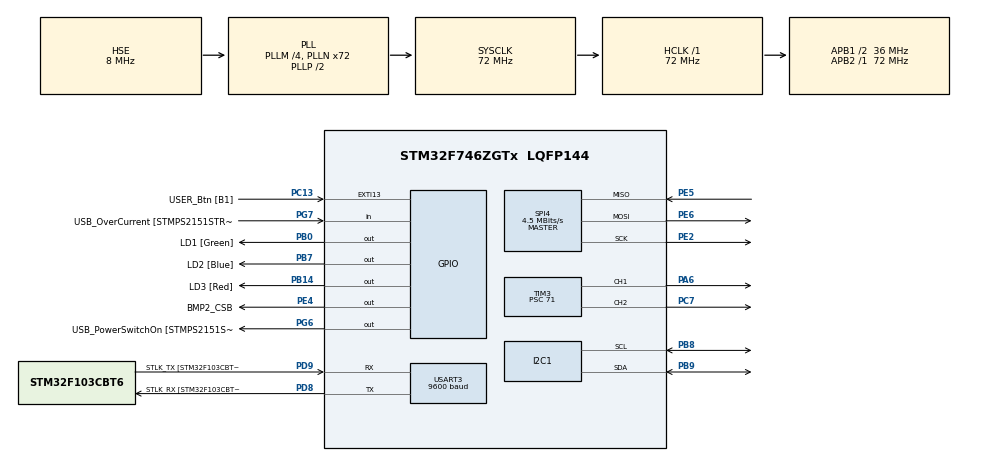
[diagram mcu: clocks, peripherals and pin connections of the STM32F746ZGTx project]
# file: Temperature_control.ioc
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I2C1.Timing=0x00808CD2
Mcu.Family=STM32F7
Mcu.Name=STM32F746ZGTx
Mcu.Package=LQFP144
NVIC.I2C1_ER_IRQn=true\:0\:0\:false\:false\:true\:true\:true\:true
NVIC.I2C1_EV_IRQn=true\:0\:0\:false\:false\:true\:true\:true\:true
NVIC.PriorityGroup=NVIC_PRIORITYGROUP_4
NVIC.SPI4_IRQn=true\:0\:0\:false\:false\:true\:true\:true\:true
NVIC.TIM7_IRQn=true\:0\:0\:false\:false\:true\:true\:true\:true
NVIC.USART3_IRQn=true\:0\:0\:false\:false\:true\:true\:true\:true
PA1.GPIO_Label=RMII_REF_CLK [LAN8742A-CZ-TR_REFCLK0]
PA1.Signal=ETH_REF_CLK
PA10.GPIO_Label=USB_ID
PA10.Signal=USB_OTG_FS_ID
PA11.GPIO_Label=USB_DM
PA11.Signal=USB_OTG_FS_DM
PA12.GPIO_Label=USB_DP
PA12.Signal=USB_OTG_FS_DP
PA13.GPIO_Label=TMS
PA13.Mode=Serial_Wire
PA13.Signal=SYS_JTMS-SWDIO
PA14.GPIO_Label=TCK
PA14.Mode=Serial_Wire
PA14.Signal=SYS_JTCK-SWCLK
PA2.GPIO_Label=RMII_MDIO [LAN8742A-CZ-TR_MDIO]
PA2.Signal=ETH_MDIO
PA6.Signal=S_TIM3_CH1
PA7.GPIO_Label=RMII_CRS_DV [LAN8742A-CZ-TR_CRS_DV]
PA7.Signal=ETH_CRS_DV
PA8.GPIO_Label=USB_SOF [TP1]
PA8.Signal=USB_OTG_FS_SOF
PA9.GPIO_Label=USB_VBUS
PA9.Signal=USB_OTG_FS_VBUS
PB0.GPIO_Label=LD1 [Green]
PB0.Signal=GPIO_Output
PB13.GPIO_Label=RMII_TXD1 [LAN8742A-CZ-TR_TXD1]
PB13.Signal=ETH_TXD1
PB14.GPIO_Label=LD3 [Red]
PB14.Signal=GPIO_Output
PB3.GPIO_Label=SW0
PB3.Signal=SYS_JTDO-SWO
PB7.GPIO_Label=LD2 [Blue]
PB7.Signal=GPIO_Output
PB8.Mode=I2C
PB8.Signal=I2C1_SCL
PB9.Mode=I2C
PB9.Signal=I2C1_SDA
PC1.GPIO_Label=RMII_MDC [LAN8742A-CZ-TR_MDC]
PC1.Signal=ETH_MDC
PC13.GPIO_Label=USER_Btn [B1]
PC13.Signal=GPXTI13
PC14/OSC32_IN.Mode=LSE-External-Oscillator
PC14/OSC32_IN.Signal=RCC_OSC32_IN
PC15/OSC32_OUT.Mode=LSE-External-Oscillator
PC15/OSC32_OUT.Signal=RCC_OSC32_OUT
PC4.GPIO_Label=RMII_RXD0 [LAN8742A-CZ-TR_RXD0]
PC4.Signal=ETH_RXD0
PC5.GPIO_Label=RMII_RXD1 [LAN8742A-CZ-TR_RXD1]
PC5.Signal=ETH_RXD1
PC7.Signal=S_TIM3_CH2
PD8.GPIO_Label=STLK_RX [STM32F103CBT6_PA3]
PD8.GPIO_PuPd=GPIO_PULLUP
PD8.Mode=Asynchronous
PD8.Signal=USART3_TX
PD9.GPIO_Label=STLK_TX [STM32F103CBT6_PA2]
PD9.GPIO_PuPd=GPIO_PULLUP
PD9.Mode=Asynchronous
PD9.Signal=USART3_RX
PE2.Mode=Full_Duplex_Master
PE2.Signal=SPI4_SCK
PE4.GPIO_Label=BMP2_CSB
PE4.Signal=GPIO_Output
PE5.Mode=Full_Duplex_Master
PE5.Signal=SPI4_MISO
PE6.Mode=Full_Duplex_Master
PE6.Signal=SPI4_MOSI
PG11.GPIO_Label=RMII_TX_EN [LAN8742A-CZ-TR_TXEN]
PG11.Signal=ETH_TX_EN
PG13.GPIO_Label=RMII_TXD0 [LAN8742A-CZ-TR_TXD0]
PG13.Signal=ETH_TXD0
PG6.GPIO_Label=USB_PowerSwitchOn [STMPS2151STR_EN]
PG6.Signal=GPIO_Output
PG7.GPIO_Label=USB_OverCurrent [STMPS2151STR_FAULT]
PG7.Signal=GPIO_Input
PH0/OSC_IN.GPIO_Label=MCO [STM32F103CBT6_PA8]
PH0/OSC_IN.Mode=HSE-External-Clock-Source
PH0/OSC_IN.Signal=RCC_OSC_IN
PH1/OSC_OUT.Mode=HSE-External-Clock-Source
PH1/OSC_OUT.Signal=RCC_OSC_OUT
ProjectManager.HeapSize=0x200
ProjectManager.StackSize=0x400
ProjectManager.TargetToolchain=STM32CubeIDE
RCC.48MHZClocksFreq_Value=24000000
RCC.AHBFreq_Value=72000000
RCC.APB1CLKDivider=RCC_HCLK_DIV2
RCC.APB1Freq_Value=36000000
RCC.APB1TimFreq_Value=72000000
RCC.APB2Freq_Value=72000000
RCC.APB2TimFreq_Value=72000000
RCC.CortexFreq_Value=72000000
RCC.HCLKFreq_Value=72000000
RCC.HSE_VALUE=8000000
RCC.HSI_VALUE=16000000
RCC.PLLM=4
RCC.PLLMUL=RCC_PLL_MUL9
RCC.PLLN=72
RCC.PLLQ=3
RCC.PLLSourceVirtual=RCC_PLLSOURCE_HSE
RCC.PRESCALERUSB=RCC_USBCLKSOURCE_PLL_DIV1_5
RCC.SYSCLKFreq_VALUE=72000000
RCC.SYSCLKSource=RCC_SYSCLKSOURCE_PLLCLK
RCC.SYSCLKSourceVirtual=RCC_SYSCLKSOURCE_PLLCLK
RCC.USBFreq_Value=48000000
RCC.VCOOutputFreq_Value=144000000
SH.S_TIM3_CH1.0=TIM3_CH1,PWM Generation1 CH1
SH.S_TIM3_CH2.0=TIM3_CH2,PWM Generation2 CH2
SPI4.BaudRatePrescaler=SPI_BAUDRATEPRESCALER_16
SPI4.CLKPhase=SPI_PHASE_2EDGE
SPI4.CLKPolarity=SPI_POLARITY_HIGH
SPI4.CalculateBaudRate=4.5 MBits/s
SPI4.DataSize=SPI_DATASIZE_8BIT
SPI4.Direction=SPI_DIRECTION_2LINES
SPI4.Mode=SPI_MODE_MASTER
SPI4.VirtualType=VM_MASTER
TIM3.Channel-PWM\ Generation1\ CH1=TIM_CHANNEL_1
TIM3.Channel-PWM\ Generation2\ CH2=TIM_CHANNEL_2
TIM3.OCPolarity_2=TIM_OCPOLARITY_HIGH
TIM3.Period=999
TIM3.Prescaler=71
TIM6.Period=0xFFFF
TIM6.Prescaler=72-1
TIM7.Period=5000-1
TIM7.Prescaler=7200-1
USART3.BaudRate=9600
USART3.VirtualMode-Asynchronous=VM_ASYNC
VP_TIM3_VS_ClockSourceINT.Mode=Internal
VP_TIM6_VS_ClockSourceINT.Mode=Enable_Timer
VP_TIM7_VS_ClockSourceINT.Mode=Enable_Timer
board=NUCLEO-F746ZG

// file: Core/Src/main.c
/* USER CODE BEGIN Header */
/**
  ******************************************************************************
  * @file           : main.c
  * @brief          : Main program body
  ******************************************************************************
  * @attention
  *
  * Copyright (c) 2024 STMicroelectronics.
  * All rights reserved.
  *
  * This software is licensed under terms that can be found in the LICENSE file
  * in the root directory of this software component.
  * If no LICENSE file comes with this software, it is provided AS-IS.
  *
  ******************************************************************************
  */
/* USER CODE END Header */
#include "main.h"
#include "i2c.h"
#include "spi.h"
#include "tim.h"
#include "usart.h"
#include "gpio.h"

/* USER CODE BEGIN Includes */
#include <stdio.h>
#include "bmp2_config.h"
#include "string.h"
#include "pi.h"
#include "lcd.h"
#include <stdbool.h>
#include <math.h>
/* USER CODE END Includes */

/* USER CODE BEGIN PV */
uint8_t  buffer[64];
uint8_t message[7];
_Bool transmiting = 0;
_Bool controler_on = 0;
int xd1 = 0;
float xd2;
struct lcd_disp disp;
//struct lcd_disp disp;
/* USER CODE END PV */

void SystemClock_Config(void);

/* USER CODE BEGIN 0 */
void HAL_UART_RxCpltCallback(UART_HandleTypeDef *huart)
{
    if (huart == &huart3) {
    	processMessage(message);
    	HAL_UART_Receive_IT(&huart3, message, 6);
    }
}

void HAL_TIM_PeriodElapsedCallback(TIM_HandleTypeDef *htim)
{

	if(htim->Instance == TIM7)
  {
	  float measured = BMP2_ReadTemperature_degC(&bmp2dev);
	  xd2 = measured;
	  unsigned int tempVal = measured;
	  float tempFrac = measured - tempVal;
	  int8_t tempFracInt = trunc(tempFrac * 100);

	  if(transmiting == 1){
		  uint8_t len = sprintf((char*)buffer, "%d.%02d\n", tempVal, tempFracInt);
		  HAL_UART_Transmit(&huart3, buffer, len, 100);
	  }

 	  if(controler_on == 1)
 	  {
 		  float u = calculate_control(&pi, measured);
 	  	  u *= 1000;

 	  	  if(u>=0)
 	  	  {
 		  	  __HAL_TIM_SET_COMPARE(&htim3, TIM_CHANNEL_1, (int16_t)u);
 		  	  __HAL_TIM_SET_COMPARE(&htim3, TIM_CHANNEL_2, 0);
 	  	  }
 	  	  else
 	  	  {
 	  		__HAL_TIM_SET_COMPARE(&htim3, TIM_CHANNEL_1, 0);
 	  		__HAL_TIM_SET_COMPARE(&htim3, TIM_CHANNEL_2, (int16_t)u * (-1));
 	  	  }
 	  	sprintf((char*)disp.s_line, "Meas:%4.2f CTR=1", measured);
 	  	lcd_display(&disp);

 	  }
 	  else
 	  {
 		  __HAL_TIM_SET_COMPARE(&htim3, TIM_CHANNEL_1, 0);
 		  __HAL_TIM_SET_COMPARE(&htim3, TIM_CHANNEL_2, 0);
 		 sprintf((char*)disp.s_line, "Meas:%4.2f CTR=0", measured);
 		lcd_display(&disp);
 	  }
  }
}

void processMessage(uint8_t *message)
{
	if(strcmp((char *)message, "uarton")==0)
	{
		transmiting = 1;

	}
	else if(strcmp((char *)message, "uartof")==0)
	{
		transmiting = 0;
	}
	else if(strcmp((char *)message, "ctrlon")==0)
	{
		controler_on = 1;
	}
	else if(strcmp((char *)message, "ctrlof")==0)
	{
		controler_on = 0;
	}
	 else if (strncmp((char *)message, "sp", 2) == 0)
	    {
	        char *numberStr = (char *)message + 2; // Skip "sp"
	        char *endPtr;
	        long intValue = strtol(numberStr, &endPtr, 10); // Parse as integer

	        // Validate that the conversion was successful and there is no trailing junk
	        if (endPtr != numberStr && *endPtr == '\0')
	        {
	            pi.setpoint = intValue / 100.0f; // Convert to float and divide by 10
	        }
	        sprintf((char*)disp.f_line, "Set:%4.2f [degC]", pi.setpoint);
	        lcd_display(&disp);
	    }
}

/* USER CODE END 0 */

int main(void)
{

  /* MCU Configuration--------------------------------------------------------*/

  /* Reset of all peripherals, Initializes the Flash interface and the Systick. */
  HAL_Init();

  /* Configure the system clock */
  SystemClock_Config();

  /* Initialize all configured peripherals */
  MX_GPIO_Init();
  MX_USART3_UART_Init();
  MX_SPI4_Init();
  MX_TIM3_Init();
  MX_TIM7_Init();
  MX_I2C1_Init();
  MX_TIM6_Init();
  /* USER CODE BEGIN 2 */
  BMP2_Init(&bmp2dev);
  HAL_TIM_Base_Start_IT(&htim7);
  HAL_UART_Receive_IT(&huart3, message, 6);
  HAL_TIM_PWM_Start(&htim3, TIM_CHANNEL_1);
  HAL_TIM_PWM_Start(&htim3, TIM_CHANNEL_2);

  disp.addr = (0x27 << 1);
  disp.bl = true;
  disp.Timer = &htim6;
  lcd_init(&disp);
  sprintf((char*)disp.f_line, "Set:%4.2f [degC]", pi.setpoint);
  lcd_display(&disp);
  /* USER CODE END 2 */

  /* Infinite loop */
  while (1)
  {

  }
}

void SystemClock_Config(void)
{
  RCC_OscInitTypeDef RCC_OscInitStruct = {0};
  RCC_ClkInitTypeDef RCC_ClkInitStruct = {0};

  /** Configure LSE Drive Capability
  */
  HAL_PWR_EnableBkUpAccess();

  /** Configure the main internal regulator output voltage
  */
  __HAL_RCC_PWR_CLK_ENABLE();
  __HAL_PWR_VOLTAGESCALING_CONFIG(PWR_REGULATOR_VOLTAGE_SCALE3);

  /** Initializes the RCC Oscillators according to the specified parameters
  * in the RCC_OscInitTypeDef structure.
  */
  RCC_OscInitStruct.OscillatorType = RCC_OSCILLATORTYPE_HSE;
  RCC_OscInitStruct.HSEState = RCC_HSE_BYPASS;
  RCC_OscInitStruct.PLL.PLLState = RCC_PLL_ON;
  RCC_OscInitStruct.PLL.PLLSource = RCC_PLLSOURCE_HSE;
  RCC_OscInitStruct.PLL.PLLM = 4;
  RCC_OscInitStruct.PLL.PLLN = 72;
  RCC_OscInitStruct.PLL.PLLP = RCC_PLLP_DIV2;
  RCC_OscInitStruct.PLL.PLLQ = 3;
  if (HAL_RCC_OscConfig(&RCC_OscInitStruct) != HAL_OK)
  {
    Error_Handler();
  }

  /** Initializes the CPU, AHB and APB buses clocks
  */
  RCC_ClkInitStruct.ClockType = RCC_CLOCKTYPE_HCLK|RCC_CLOCKTYPE_SYSCLK
                              |RCC_CLOCKTYPE_PCLK1|RCC_CLOCKTYPE_PCLK2;
  RCC_ClkInitStruct.SYSCLKSource = RCC_SYSCLKSOURCE_PLLCLK;
  RCC_ClkInitStruct.AHBCLKDivider = RCC_SYSCLK_DIV1;
  RCC_ClkInitStruct.APB1CLKDivider = RCC_HCLK_DIV2;
  RCC_ClkInitStruct.APB2CLKDivider = RCC_HCLK_DIV1;

  if (HAL_RCC_ClockConfig(&RCC_ClkInitStruct, FLASH_LATENCY_2) != HAL_OK)
  {
    Error_Handler();
  }
}

void Error_Handler(void)
{
  __disable_irq();
  while (1)
  {
  }
}
